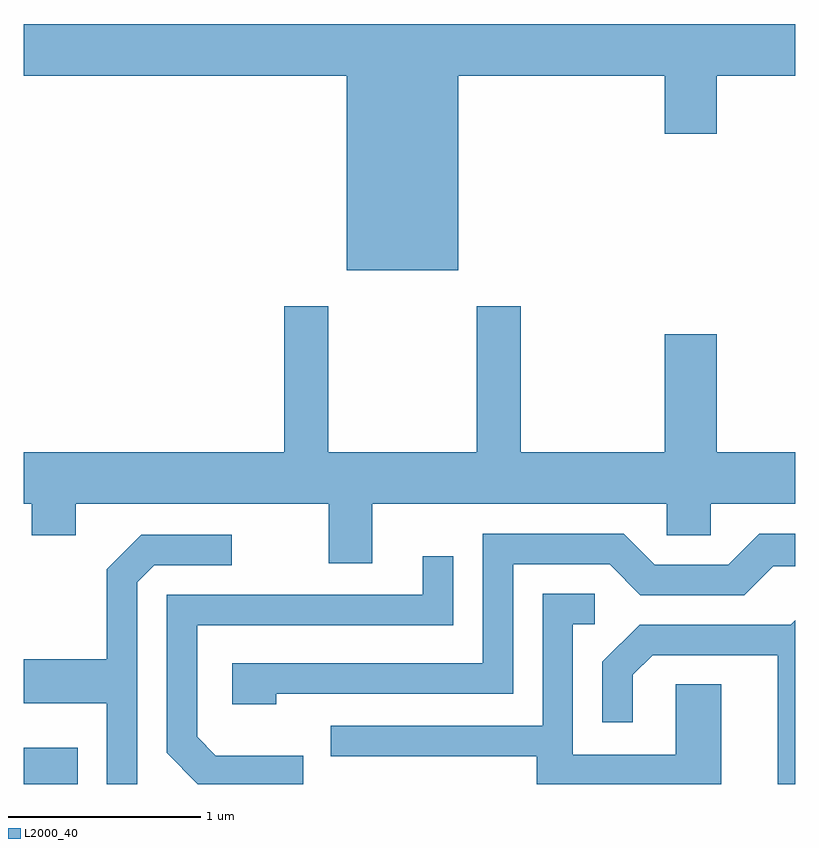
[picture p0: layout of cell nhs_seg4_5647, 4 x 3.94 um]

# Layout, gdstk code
import gdstk
lib = gdstk.Library(unit=1e-6, precision=1e-09)
def R(c, l, rs):  # rectangles x0, y0, x1, y1
    for r in rs: c.add(gdstk.rectangle(r[:2], r[2:], *l))
def P(c, l, *ps):  # polygons
    for p in ps: c.add(gdstk.Polygon(p, *l))
L2000_40 = (2000, 40)

nhs_seg4_5647 = lib.new_cell('nhs_seg4_5647')
R(nhs_seg4_5647, L2000_40, [(351.611,1259.982,351.889,1260.169)])
P(nhs_seg4_5647, L2000_40, [(353.864,1263.656),(354.936,1263.656),(354.936,1263.356),(355.204,1263.356),(355.204,1263.656),(355.611,1263.656),(355.611,1263.924),(351.611,1263.924),(351.611,1263.656),(353.286,1263.656),(353.286,1262.646),(353.864,1262.646)],
  [(353.419,1261.436),(354.946,1261.436),(354.946,1261.271),(355.174,1261.271),(355.174,1261.436),(355.611,1261.436),(355.611,1261.704),(355.204,1261.704),(355.204,1262.314),(354.936,1262.314),(354.936,1261.704),(354.189,1261.704),(354.189,1262.459),(353.961,1262.459),(353.961,1261.704),(353.189,1261.704),(353.189,1262.459),(352.961,1262.459),(352.961,1261.704),(351.611,1261.704),(351.611,1261.436),(351.651,1261.436),(351.651,1261.271),(351.879,1261.271),(351.879,1261.436),(353.191,1261.436),(353.191,1261.126),(353.419,1261.126)],
  [(352.919,1260.451),(354.149,1260.451),(354.149,1261.121),(354.649,1261.121),(354.809,1260.961),(355.347,1260.961),(355.497,1261.111),(355.611,1261.111),(355.611,1261.279),(355.424,1261.279),(355.264,1261.119),(354.882,1261.119),(354.722,1261.279),(353.991,1261.279),(353.991,1260.609),(352.691,1260.609),(352.691,1260.396),(352.919,1260.396)],
  [(352.199,1261.029),(352.287,1261.116),(352.688,1261.116),(352.688,1261.274),(352.219,1261.274),(352.041,1261.097),(352.041,1260.629),(351.611,1260.629),(351.611,1260.401),(352.041,1260.401),(352.041,1259.982),(352.199,1259.982)],
  [(353.059,1260.129),(352.607,1260.129),(352.509,1260.227),(352.509,1260.806),(353.839,1260.806),(353.839,1261.163),(353.681,1261.163),(353.681,1260.964),(352.351,1260.964),(352.351,1260.144),(352.513,1259.982),(353.059,1259.982)],
  [(355.229,1260.499),(354.991,1260.499),(354.991,1260.134),(354.459,1260.134),(354.459,1260.811),(354.573,1260.811),(354.573,1260.969),(354.301,1260.969),(354.301,1260.284),(353.203,1260.284),(353.203,1260.126),(354.271,1260.126),(354.271,1259.982),(355.229,1259.982)],
  [(355.611,1260.831),(355.589,1260.809),(354.804,1260.809),(354.611,1260.617),(354.611,1260.303),(354.769,1260.303),(354.769,1260.549),(354.872,1260.651),(355.521,1260.651),(355.521,1259.982),(355.611,1259.982)])

lib.write_gds('nhs_seg4_5647.gds')
